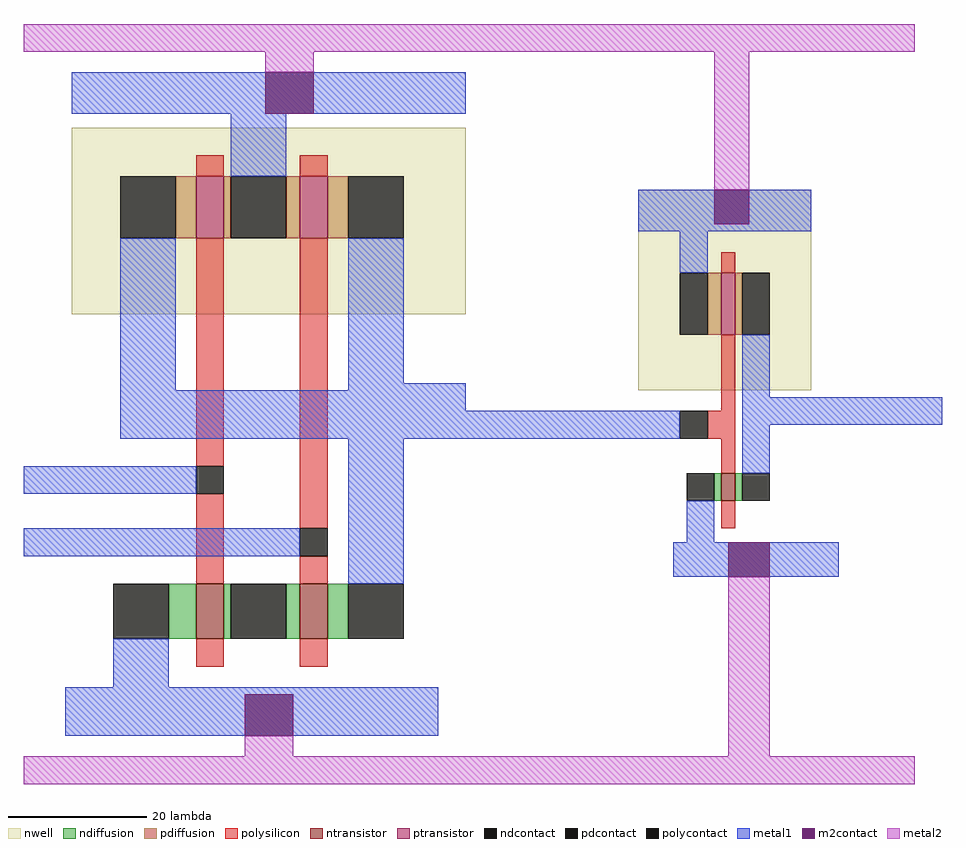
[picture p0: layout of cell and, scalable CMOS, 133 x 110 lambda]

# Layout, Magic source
magic
tech scmos
<< metal1 >>
rect 59 58 86 62
rect 120 60 130 64
rect -3 50 7 54
rect -3 41 7 45
<< m2contact >>
rect 32 105 39 111
rect 97 89 102 94
rect 99 38 105 43
rect 29 15 36 21
<< metal2 >>
rect -3 114 126 118
rect 32 111 39 114
rect 97 94 102 114
rect 29 12 36 15
rect 99 12 105 38
rect -3 8 126 12
use nand  nand_0
transform 1 0 31 0 1 79
box -28 -64 30 32
use inverter  inverter_0
transform 1 0 86 0 1 65
box -4 -27 36 29
<< end >>

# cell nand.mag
magic
tech scmos
<< nwell >>
rect -27 -3 30 24
<< ntransistor >>
rect -9 -50 -5 -42
rect 6 -50 10 -42
<< ptransistor >>
rect -9 8 -5 17
rect 6 8 10 17
<< ndiffusion >>
rect -13 -50 -9 -42
rect -5 -50 -4 -42
rect 4 -50 6 -42
rect 10 -50 13 -42
<< pdiffusion >>
rect -12 8 -9 17
rect -5 8 -4 17
rect 4 8 6 17
rect 10 8 13 17
<< ndcontact >>
rect -21 -50 -13 -42
rect -4 -50 4 -42
rect 13 -50 21 -42
<< pdcontact >>
rect -20 8 -12 17
rect -4 8 4 17
rect 13 8 21 17
<< polysilicon >>
rect -9 17 -5 20
rect 6 17 10 20
rect -9 -25 -5 8
rect -9 -42 -5 -29
rect 6 -34 10 8
rect 6 -42 10 -38
rect -9 -54 -5 -50
rect 6 -54 10 -50
<< polycontact >>
rect -9 -29 -5 -25
rect 6 -38 10 -34
<< metal1 >>
rect -27 26 30 32
rect -4 17 4 26
rect -20 -14 -12 8
rect 13 -13 21 8
rect 13 -14 30 -13
rect -20 -21 30 -14
rect -28 -29 -9 -25
rect -28 -38 6 -34
rect 13 -42 21 -21
rect -21 -57 -13 -50
rect -28 -64 26 -57
<< end >>

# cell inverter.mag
magic
tech scmos
<< nwell >>
rect 0 0 25 29
<< ntransistor >>
rect 12 -16 14 -12
<< ptransistor >>
rect 12 8 14 17
<< ndiffusion >>
rect 11 -16 12 -12
rect 14 -16 15 -12
<< pdiffusion >>
rect 10 8 12 17
rect 14 8 15 17
<< ndcontact >>
rect 7 -16 11 -12
rect 15 -16 19 -12
<< pdcontact >>
rect 6 8 10 17
rect 15 8 19 17
<< polysilicon >>
rect 12 17 14 20
rect 12 -3 14 8
rect 10 -7 14 -3
rect 12 -12 14 -7
rect 12 -20 14 -16
<< polycontact >>
rect 6 -7 10 -3
<< metal1 >>
rect 0 23 25 29
rect 6 17 10 23
rect 15 -1 19 8
rect -4 -7 6 -3
rect 15 -5 36 -1
rect 15 -12 19 -5
rect 7 -22 11 -16
rect 5 -27 29 -22
<< end >>
